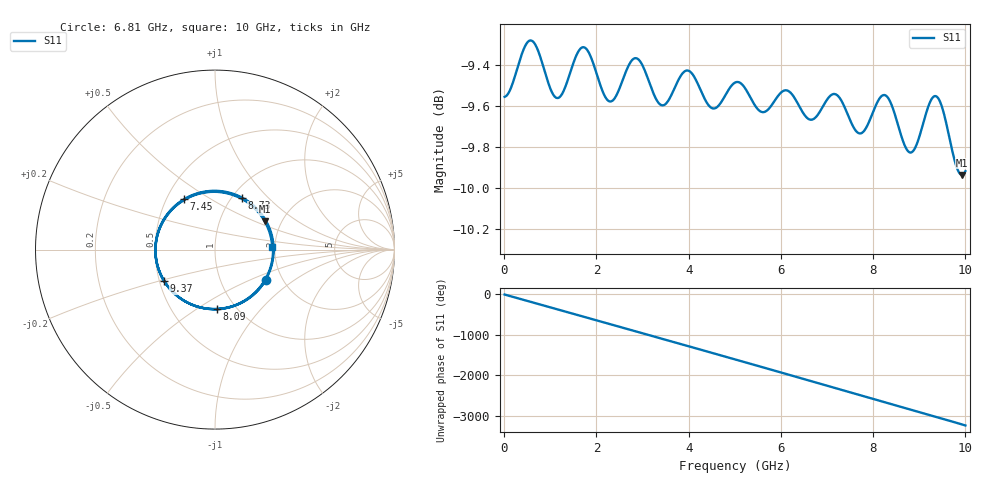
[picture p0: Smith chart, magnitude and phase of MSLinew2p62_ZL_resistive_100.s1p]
! TOUCHSTONE file generated by CST MICROWAVE STUDIO
! Date and time: Tue Feb 18 19:56:00 2025
! Project name: MSLineZL_resistive.cst
! Parameters = {ZL=100; C=0; L=100; Lamb=0.05; Li=0; R=1e-13; W=20; Zp2=50; dlump=2; er=2; h=0.8; w1=2.62}
! Header version: 2024
! Port assignment regex: !\s*Touchstone port\s*([0-9]+)\s*=\s*(CST MWS port|CST DES external port|CST DES block port)\s*(.+)\s* \(\"(.*)\"\)(\s*mode\s*([0-9]+))?.*
! Touchstone port assignment:
! Touchstone port 1 = CST MWS port 1 ("")
# GHz S MA R 50
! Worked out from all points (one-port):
!   1000 points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, 10 MHz to 10 GHz, reference 50 ohm
!   lowest |S11| = -9.9 dB at 9.92 GHz (marker M1), VSWR 1.94, Z = 81.8 + j28.9 ohm
!   |S11| at or under -10 dB: nowhere
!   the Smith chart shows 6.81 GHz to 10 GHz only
!   S11 on the Smith chart (normalised r, x): 6.81 GHz: 1.64, -0.62; 7.45 GHz: 0.61, +0.39; 8.09 GHz: 0.81, -0.61; 8.73 GHz: 1.11, +0.71; 9.37 GHz: 0.53, -0.21; 10 GHz: 1.93, +0.07
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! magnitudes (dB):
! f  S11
! 10 MHz  -9.6
! 570 MHz  -9.3
! 1.06 GHz  -9.5
! 1.26 GHz  -9.5
! 1.71 GHz  -9.3
! 2.24 GHz  -9.6
! 2.51 GHz  -9.5
! 2.84 GHz  -9.4
! 3.4 GHz  -9.6
! 3.76 GHz  -9.5
! 4.03 GHz  -9.4
! 4.54 GHz  -9.6
! 5.01 GHz  -9.5
! 5.59 GHz  -9.6
! 6.26 GHz  -9.5
! 6.58 GHz  -9.7
! 6.81 GHz  -9.6
! 7.16 GHz  -9.5
! 7.45 GHz  -9.6
! 7.51 GHz  -9.7
! 7.76 GHz  -9.7
! 8.09 GHz  -9.6
! 8.33 GHz  -9.6
! 8.73 GHz  -9.8
! 8.76 GHz  -9.8
! 9.37 GHz  -9.6
! 9.92 GHz  -9.9
! 10 GHz  -9.9
